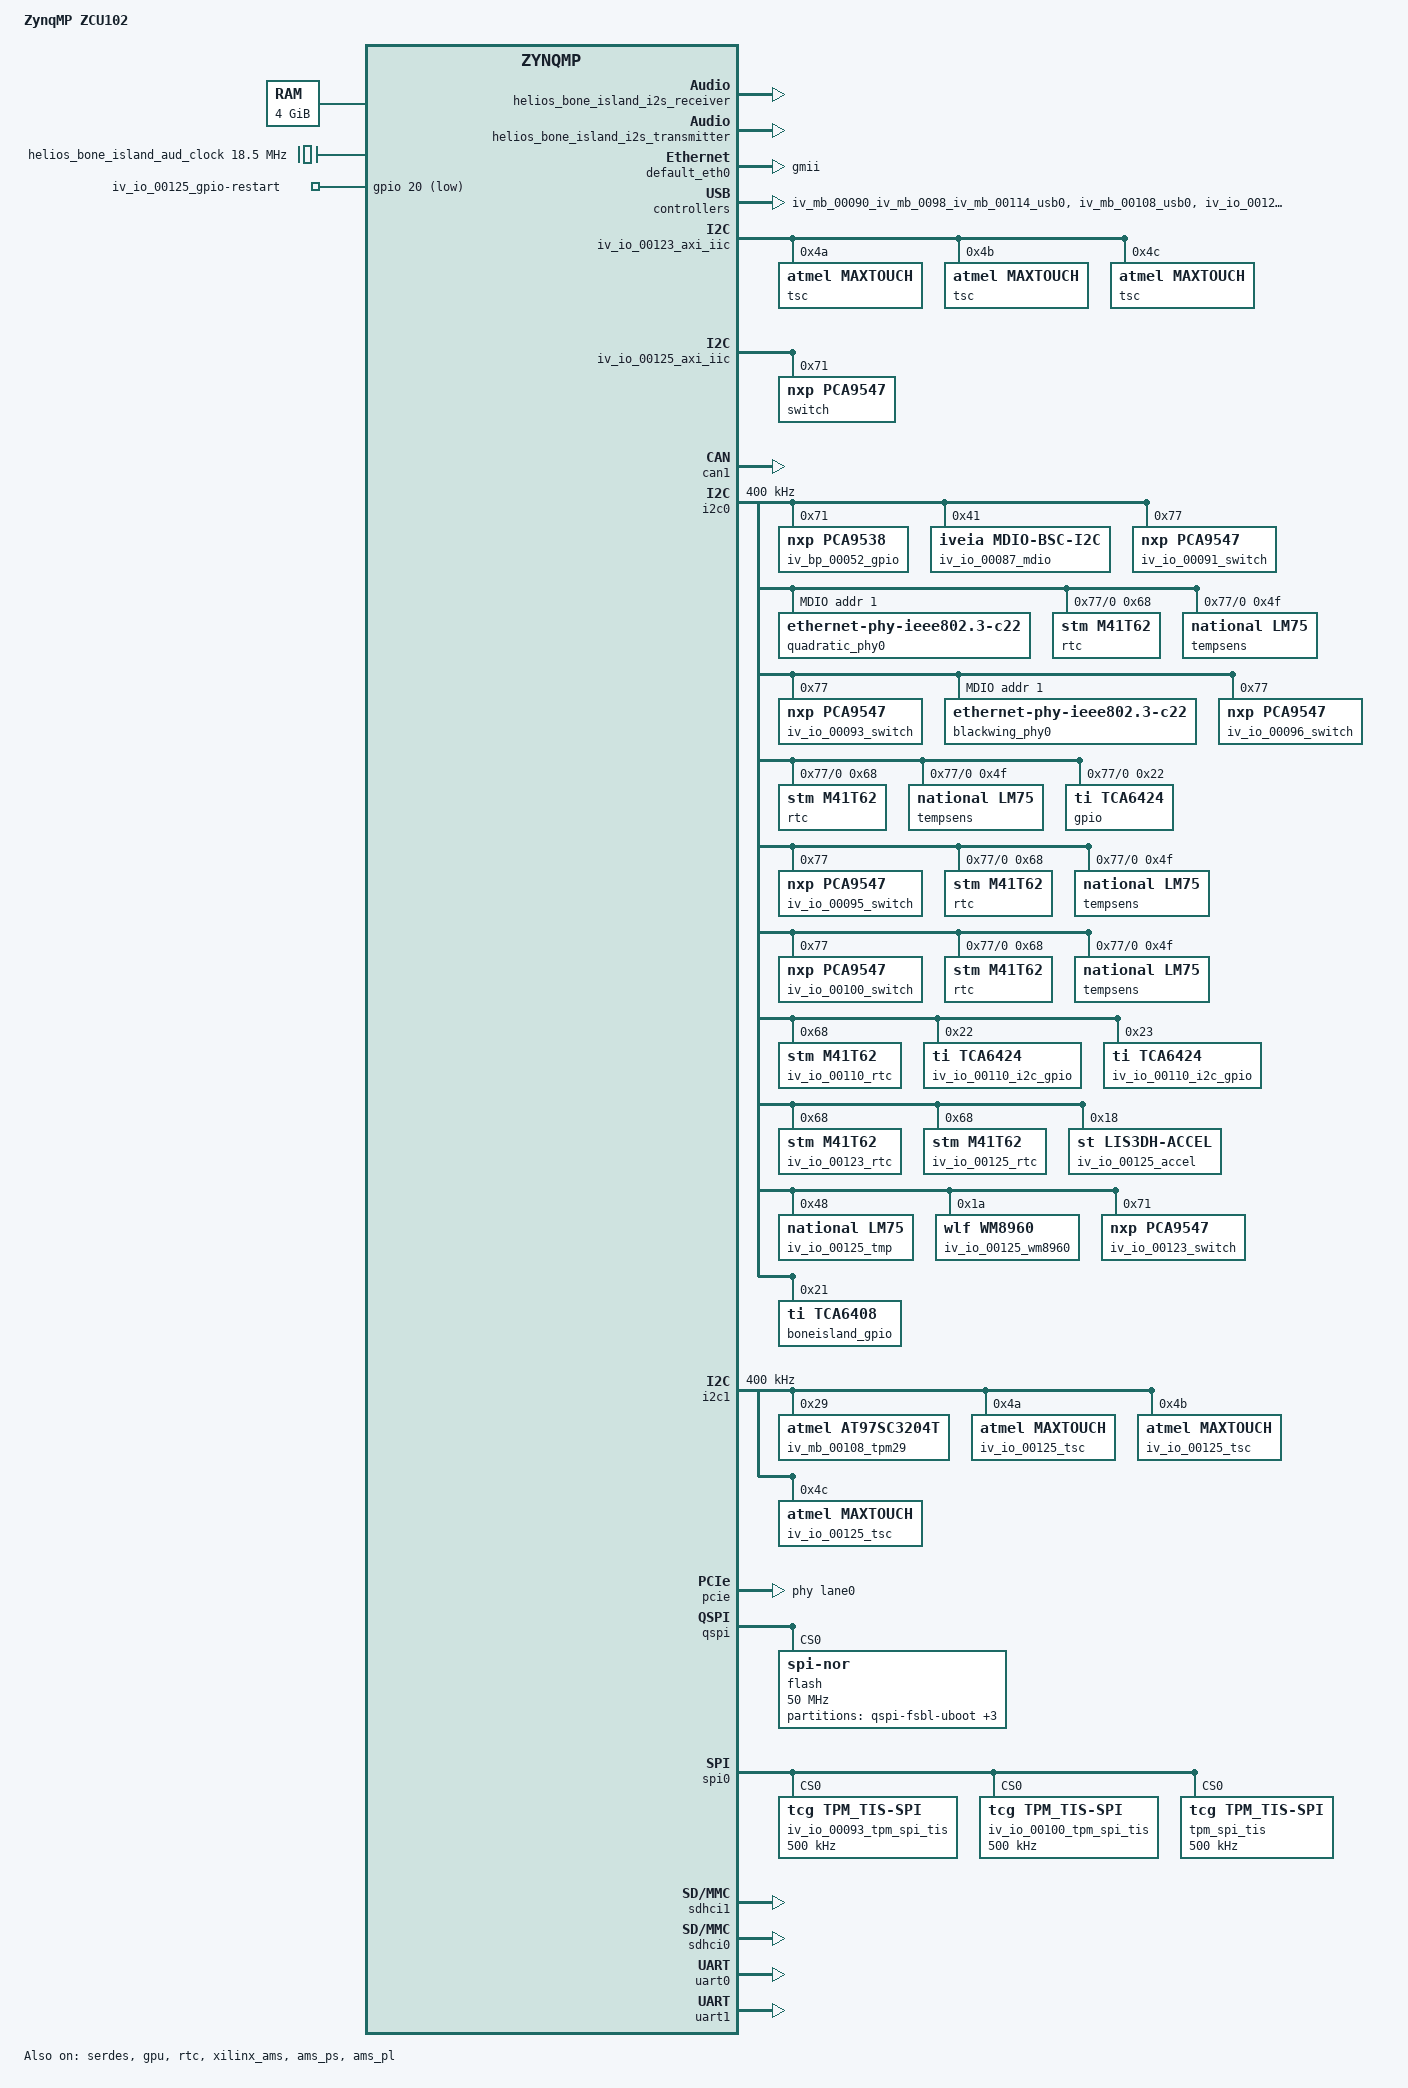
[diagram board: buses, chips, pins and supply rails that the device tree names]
/*
* dts file for iVeia Atlas-II-Z8
 *
 *
 * Patrick Cleary <pcleary@iveia.com>
 *
 * This program is free software; you can redistribute it and/or
 * modify it under the terms of the GNU General Public License as
 * published by the Free Software Foundation; either version 2 of
 * the License, or (at your option) any later version.
 */

/dts-v1/;

#include "zynqmp.dtsi"
#include "zynqmp-clk-ccf.dtsi"
#include <dt-bindings/gpio/gpio.h>
#include <dt-bindings/phy/phy.h>

/ {
	model = "ZynqMP ZCU102";
	compatible = "xlnx,zynqmp-zcu102", "xlnx,zynqmp";
	#address-cells = <2>;
	#size-cells = <1>;


	aliases {
		//ethernet0 = &gem0;
		gpio0 = &gpio;
		i2c0 = &i2c0;
		i2c1 = &i2c1;
		rtc0 = &rtc;
		serial0 = &uart0;
		serial1 = &uart1;
		spi0 = &qspi;
		//usb0 = &usb0;
		//usb1 = &iv_usb1;
	};

	chosen {
//		bootargs = "console=ttyPS1,115200n8 earlycon=cdns,mmio,0xff010000,115200n8 init=/init video=DP-1:1024x768@60 root=/dev/mmcblk0p2 rw rootfstype=ext4 drm.debug=0xf rootwait androidboot.selinux=disabled androidboot.hardware=zcu102 qemu=1";
		bootargs = "console=ttyPS1,115200n8 single root=/dev/mmcblk0p3 rw rootfstype=ext4 rootwait rw earlyprintk loglevel=9";
//		bootargs = "console=ttyPS1,115200n8 rw earlyprintk loglevel=9";
		stdout-path = "serial1:115200n8";
	};

	memory {
		device_type = "memory";
		reg = <0x0 0x0 0x80000000>, <0x8 0x00000000 0x80000000>;
	};


};


&amba {

	helios_bone_island_aud_clock: iv_io_00125_oscillator {
		compatible = "fixed-clock";
		#clock-cells = <1>;
		clock-frequency  = <18500000>;
		clock-output-names = "aud_clock";
	};

	helios_bone_island_i2s_receiver: iv_io_00125_i2s_receiver@80020000 {
		compatible = "xlnx,i2s-receiver-1.0";
		reg = <0x0 0x80020000 0x0 0x10000>;
		xlnx,dwidth = <0x10>;
		xlnx,num-channels = <1>;
		xlnx,snd-pcm = <&helios_bone_island_audio_audio_formatter>;
		audio-codec = <&iv_io_00125_wm8960>;
	};

	helios_bone_island_i2s_transmitter: iv_io_00125_i2s_transmitter@80010000 {
		compatible = "xlnx,i2s-transmitter-1.0";
		reg = <0x0 0x80010000 0x0 0x10000>;
		xlnx,dwidth = <0x10>;
		xlnx,num-channels = <1>;
		xlnx,snd-pcm = <&helios_bone_island_audio_audio_formatter>;
		audio-codec = <&iv_io_00125_wm8960>;
	};

	helios_bone_island_audio_audio_formatter: iv_io_00125_audio_formatter@80000000 {
		compatible = "xlnx,audio-formatter-1.0";
		interrupt-names = "irq_mm2s", "irq_s2mm";
		interrupt-parent = <&gic>;
		interrupts = <0 89 4>, <0 90 4>;
		reg = <0x0 0x80000000 0x0 0x1000>;
		xlnx,tx = <&helios_bone_island_i2s_transmitter>;
		xlnx,rx = <&helios_bone_island_i2s_receiver>;
		clock-names = "s_axi_lite_aclk", "aud_mclk";
		clocks = <&clk 72>, <&helios_bone_island_aud_clock 0>;
	};

		sv_driver_plat@80000000 {
			compatible = "xlnx,sv_driver_plat";
			interrupt-parent = <&gic>;
			interrupts = <0x0 106 0x4>;
			reg = <0x0 0x80000000 0x0 0x1000 0x0 0x80001000 0x0 0x1000 0x0 0x80002000 0x0 0x1000 0x0 0x88000000 0x0 0x4000000 0x0 0x8C000000 0x0 0x4000000>;
		};

//ETH0
	default_eth0: NOT_iv_io_00110_NOT_iv_io_00093_NOT_iv_io_00073_ethernet@ff0b0000 {
			compatible = "cdns,zynqmp-gem";
			status = "okay";
			phy-mode = "gmii";
			interrupt-parent = <&gic>;
			interrupts = <0 57 4>, <0 57 4>;
			reg = <0x0 0xff0b0000 0x0 0x1000>;
			clocks = <&clk 45>, <&clk 45>, <&clk 49>;
			clock-names = "pclk", "tx_clk", "hclk";
			#address-cells = <1>;
			#size-cells = <0>;
			#stream-id-cells = <1>;
			iommus = <&smmu 0x874>;
			power-domains = <&pd_eth0>;
	};


		iv_mb_00090_iv_mb_0098_iv_mb_00114_usb0: iv_mb_00090_iv_mb_0098_iv_mb_00114_usb0 { //All boards except Atlas-III-Z8
		//iv_usb0: iv_usb0 {
			#address-cells = <2>;
			#size-cells = <2>;
			status = "okay";
			compatible = "xlnx,zynqmp-dwc3";
			reg = <0x0 0xff9d0000 0x0 0x100>;
			clock-names = "bus_clk", "ref_clk";
			#stream-id-cells = <1>;
			iommus = <&smmu 0x860>;
			power-domains = <&pd_usb0>;
			ranges;
			nvmem-cells = <&soc_revision>;
			nvmem-cell-names = "soc_revision";
            clocks = <&clk 32>,  <&clk 34>;

			iv_dwc3_0: iv_dwc3@fe200000 {
				compatible = "snps,dwc3";
				status = "okay";
				reg = <0x0 0xfe200000 0x0 0x40000>;
				interrupt-parent = <&gic>;
				interrupts = <0 65 4>, <0 69 4>;
				snps,quirk-frame-length-adjustment = <0x20>;
				snps,refclk_fladj;

	            dr_mode = "host";
	            snps,usb3_lpm_capable;
	            phy-names = "usb3-phy";
	            phys = <&lane0 PHY_TYPE_USB3 0 2 26000000>;

			};
		};

		iv_mb_00108_usb0: iv_mb_00108_usb0 { //Atlas-I-Z8 has different Lane setup
		//iv_usb0: iv_usb0 {
			#address-cells = <2>;
			#size-cells = <2>;
			status = "okay";
			compatible = "xlnx,zynqmp-dwc3";
			reg = <0x0 0xff9d0000 0x0 0x100>;
			clock-names = "bus_clk", "ref_clk";
			#stream-id-cells = <1>;
			iommus = <&smmu 0x860>;
			power-domains = <&pd_usb0>;
			ranges;
			nvmem-cells = <&soc_revision>;
			nvmem-cell-names = "soc_revision";
            clocks = <&clk 32>,  <&clk 34>;

			iv_dwc3_a1_0: iv_dwc3@fe200000 {
				compatible = "snps,dwc3";
				status = "okay";
				reg = <0x0 0xfe200000 0x0 0x40000>;
				interrupt-parent = <&gic>;
				interrupts = <0 65 4>, <0 69 4>;
				snps,quirk-frame-length-adjustment = <0x20>;
				snps,refclk_fladj;

	            dr_mode = "host";
	            snps,usb3_lpm_capable;
	            phy-names = "usb3-phy";
	            phys = <&lane0 PHY_TYPE_USB3 0 0 100000000>;

			};
		};

		iv_io_00125_usb0: iv_io_00125_usb0 {
			#address-cells = <2>;
			#size-cells = <2>;
			status = "okay";
			compatible = "xlnx,zynqmp-dwc3";
			reg = <0x0 0xff9d0000 0x0 0x100>;
			clock-names = "bus_clk", "ref_clk";
			#stream-id-cells = <1>;
			iommus = <&smmu 0x860>;
			power-domains = <&pd_usb0>;
			ranges;
			nvmem-cells = <&soc_revision>;
			nvmem-cell-names = "soc_revision";
            clocks = <&clk 32>,  <&clk 34>;

			boneisland_dwc: dwc3@fe200000 {
				compatible = "snps,dwc3";
				status = "okay";
				reg = <0x0 0xfe200000 0x0 0x40000>;
				interrupt-parent = <&gic>;
				interrupts = <0 65 4>, <0 69 4>;
				snps,quirk-frame-length-adjustment = <0x20>;
				snps,refclk_fladj;

	            dr_mode = "host";
			};
		};


		iv_mb_00090_iv_mb_0098_iv_mb_00108_iv_mb_00114_usb1: iv_mb_00090_iv_mb_0098_iv_mb_00108_iv_mb_00114_usb1 { //All boards except Atlas-III-Z8
			#address-cells = <2>;
			#size-cells = <2>;
			status = "okay";
			compatible = "xlnx,zynqmp-dwc3";
			reg = <0x0 0xff9e0000 0x0 0x100>;
			clock-names = "bus_clk", "ref_clk";
			#stream-id-cells = <1>;
			iommus = <&smmu 0x861>;
			power-domains = <&pd_usb1>;
			ranges;
			nvmem-cells = <&soc_revision>;
			nvmem-cell-names = "soc_revision";
            clocks = <&clk 33>,  <&clk 34>;

			iv_dwc3_1: dwc3@fe300000 {
				compatible = "snps,dwc3";
				status = "okay";
				reg = <0x0 0xfe300000 0x0 0x40000>;
				interrupt-parent = <&gic>;
				interrupts = <0 70 4>, <0 74 4>;
				snps,quirk-frame-length-adjustment = <0x20>;
				snps,refclk_fladj;

                dr_mode = "host";
                maximum-speed = "high-speed";

			};
		};

	iv_io_00123_axi_iic: i2c@80002000 {
		#size-cells = <0>;
		#address-cells = <1>;
		compatible = "xlnx,xps-iic-2.00.a";
        clocks = <&clk 72>;
        clock-names = "pclk";
		interrupt-parent = <&gic>;
		interrupts = < 0 95 4 >;
		reg = < 0x0 0x80002000 0x0 0x1000 >;

        tsc@4a {
		    reg = <0x4a>;
		    compatible = "atmel,maxtouch";
		    interrupt-parent = <&gic>;
		    interrupts = <0 94 4>;
	    };

        tsc@4b {
		    reg = <0x4b>;
		    compatible = "atmel,maxtouch";
		    interrupt-parent = <&gic>;
		    interrupts = <0 94 4>;
	    };
 
        tsc@4c {
		    reg = <0x4c>;
		    compatible = "atmel,maxtouch";
		    interrupt-parent = <&gic>;
		    interrupts = <0 94 4>;
	    };

	};

    iv_io_00125_axi_iic: i2c@80002000 {
		#size-cells = <0>;
		#address-cells = <1>;
		compatible = "xlnx,xps-iic-2.00.a";
        clocks = <&clk 72>;
        clock-names = "pclk";
		interrupt-parent = <&gic>;
		interrupts = < 0 95 4 >;
		reg = < 0x0 0x80002000 0x0 0x1000 >;

    	switch@71 {
            compatible = "nxp,pca9547";
            #address-cells = <1>;
            #size-cells = <0>;
            reg = <0x71>;
		    i2c@0 {
	            #address-cells = <1>;
                #size-cells = <0>;
                reg = <0>;
			
            };
    		i2c@1 {
    	        #address-cells = <1>;
                #size-cells = <0>;
                reg = <0>;
			
            };
    		i2c@2 {
    	        #address-cells = <1>;
                #size-cells = <0>;
                reg = <0>;
    			
            };
    		i2c@3 {
    	        #address-cells = <1>;
                #size-cells = <0>;
                reg = <0>;
    			
            };
    		i2c@4 {
    	        #address-cells = <1>;
                #size-cells = <0>;
                reg = <0>;
    			
            };
    		i2c@5 {
    	        #address-cells = <1>;
               #size-cells = <0>;
                reg = <0>;
			
            };
    		i2c@6 {
    	        #address-cells = <1>;
                #size-cells = <0>;
                reg = <0>;
			
            };
        };

	};

    iv_io_00125_gpio-restart {
	    compatible = "gpio-restart";
	    gpios = <&gpio 20 GPIO_ACTIVE_LOW>;
	    priority = <128>;
	    active-delay = <100>;
	    inactive-delay = <100>;
	    wait-delay = <3000>;
    };
};


&pss_ref_clk {
        clock-frequency = <50000000>;
};

&fclk0 {
	status = "okay";
};

&fclk1 {
	status = "okay";
};

&fclk2 {
	status = "okay";
};

&fclk3 {
	status = "okay";
};

&serdes {
	status = "okay";
};

&can1 {
	status = "okay";
};

&gpio {
	status = "okay";
};

&gpu {
	status = "okay";
};

&i2c0 {
	status = "okay";
	clock-frequency = <400000>;

	iv_bp_00052_gpio: iv_bp_00052_i2c_gpio@71 { //Triumph AEP Module
		compatible = "nxp,pca9538";
		reg = <0x71>;
        gpio-controller;
        #gpio-cells = <2>;

	};

    iv_io_00087_mdio@41 {  //Quadratic Tri-Mode Ethernet PHY
        compatible = "iveia,mdio-bsc-i2c";
        reg = <0x41>;
        #address-cells = <1>;
        #size-cells = <0>;

        sierra_phy0: phy@1 {
            compatible = "ethernet-phy-ieee802.3-c22";
            device_type = "ethernet-phy";
            reg = <1>;
        };
    };

	iv_io_00091_switch@77 {
                compatible = "nxp,pca9547";
                #address-cells = <1>;
                #size-cells = <0>;
                reg = <0x77>;
	
		i2c@0 {
			#address-cells = <1>;
                        #size-cells = <0>;
                        reg = <0>;
	
			mdio@41 {  //Quadratic Tri-Mode Ethernet PHY
        		        compatible = "iveia,mdio-bsc-i2c";
               			 reg = <0x41>;
				#address-cells = <1>;
				#size-cells = <0>;

				quadratic_phy0: phy@1 {
					compatible = "ethernet-phy-ieee802.3-c22";
					device_type = "ethernet-phy";
					reg = <1>;
				};
           	 	};

                        rtc@68 {
                                compatible = "stm,m41t62";
                                reg = <0x68>;
                        };

                        tempsens@4f {
                                compatible = "national,lm75";
                                reg = <0x4f>;
                        };			
                };		
	};

	iv_io_00093_switch@77 {
                compatible = "nxp,pca9547";
                #address-cells = <1>;
                #size-cells = <0>;
                reg = <0x77>;
	
		i2c@0 {
			#address-cells = <1>;
                        #size-cells = <0>;
                        reg = <0>;
	
			mdio@40 {  //Blackwing Tri-Mode Ethernet PHY
        		        compatible = "iveia,mdio-bsc-i2c";
               			 reg = <0x40>;
				#address-cells = <1>;
				#size-cells = <0>;

				blackwing_phy0: phy@1 {
					compatible = "ethernet-phy-ieee802.3-c22";
					device_type = "ethernet-phy";
					reg = <1>;
				};
           	 	};

                };		
	};

    iv_io_00096_switch@77 {
        compatible = "nxp,pca9547";
        #address-cells = <1>;
        #size-cells = <0>;
        reg = <0x77>;
	
        i2c@0 {
            #address-cells = <1>;
            #size-cells = <0>;
            reg = <0>;

            rtc@68 {
                compatible = "stm,m41t62";
                reg = <0x68>;
            };

            tempsens@4f {
                compatible = "national,lm75";
                reg = <0x4f>;
            };

            gpio@22 {
                compatible = "ti,tca6424";
                reg = <0x22>;
                gpio-controller;
                #gpio-cells = <2>;
            };

        };
    };

	iv_io_00095_switch@77 {
                compatible = "nxp,pca9547";
                #address-cells = <1>;
                #size-cells = <0>;
                reg = <0x77>;

		i2c@0 {
			#address-cells = <1>;
                        #size-cells = <0>;
                        reg = <0>;
	
                        rtc@68 {
                                compatible = "stm,m41t62";
                                reg = <0x68>;
                        };

                        tempsens@4f {
                                compatible = "national,lm75";
                                reg = <0x4f>;
                        };			
                };		
	};

	iv_io_00100_switch@77 {
                compatible = "nxp,pca9547";
                #address-cells = <1>;
                #size-cells = <0>;
                reg = <0x77>;
	
		i2c@0 {
			#address-cells = <1>;
                        #size-cells = <0>;
                        reg = <0>;
	
                        rtc@68 {
                                compatible = "stm,m41t62";
                                reg = <0x68>;
                        };

                        tempsens@4f {
                                compatible = "national,lm75";
                                reg = <0x4f>;
                        };			
                };		
	};

    iv_io_00110_rtc@68 {
            compatible = "stm,m41t62";
            reg = <0x68>;
    };

	iv_io_00110_i2c_gpio@22 {
		compatible = "ti,tca6424";
		reg = <0x22>;
	        gpio-controller;
	        #gpio-cells = <2>;
	};
	
	iv_io_00110_i2c_gpio@23 {
		compatible = "ti,tca6424";
		reg = <0x23>;
        	gpio-controller;
        	#gpio-cells = <2>;
	};

    iv_io_00123_rtc@68 {
            compatible = "stm,m41t62";
            reg = <0x68>;
    };

    iv_io_00125_rtc@68 {
            compatible = "stm,m41t62";
            reg = <0x68>;
    };
    
    iv_io_00125_accel@18 {
            compatible = "st,lis3dh-accel";
            reg = <0x18>;
    };

    iv_io_00125_tmp@48 {
		compatible = "national,lm75";
		reg = <0x48>;	
	};

	iv_io_00125_wm8960: iv_io_00125_wm8960@1a {//Atlas-I-Z8 on Bone-Island Carrier
		compatible = "wlf,wm8960";
		//#address-cells = <1>;
		//#size-cells = <0>;
		reg = <0x1a>;
	};

	iv_io_00123_switch@71 {
                compatible = "nxp,pca9547";
                #address-cells = <1>;
                #size-cells = <0>;
                reg = <0x71>;
		i2c@0 {
	        #address-cells = <1>;
            #size-cells = <0>;
            reg = <0>;
			
        };
		i2c@1 {
	        #address-cells = <1>;
            #size-cells = <0>;
            reg = <0>;
			
        };
		i2c@2 {
	        #address-cells = <1>;
            #size-cells = <0>;
            reg = <0>;
			
        };
		i2c@3 {
	        #address-cells = <1>;
            #size-cells = <0>;
            reg = <0>;
			
        };
		i2c@4 {
	        #address-cells = <1>;
            #size-cells = <0>;
            reg = <0>;
			
        };
		i2c@5 {
	        #address-cells = <1>;
            #size-cells = <0>;
            reg = <0>;
			
        };
		i2c@6 {
	        #address-cells = <1>;
            #size-cells = <0>;
            reg = <0>;
			
        };
    };

	boneisland_gpio: iv_io_00123_i2c_gpio@21 {
		compatible = "ti,tca6408";
		reg = <0x21>;
	        gpio-controller;
	        #gpio-cells = <2>;
	};


};

&i2c1 {
	status = "okay";
	clock-frequency = <400000>;

	iv_mb_00108_tpm29@29{
		compatible = "atmel,at97sc3204t";
 		reg = <0x29>;
 	};

    iv_io_00125_tsc@4a {
	    reg = <0x4a>;
	    compatible = "atmel,maxtouch";
	    interrupt-parent = <&gic>;
	    interrupts = <0 94 4>;
    };

    iv_io_00125_tsc@4b {
	    reg = <0x4b>;
	    compatible = "atmel,maxtouch";
	    interrupt-parent = <&gic>;
	    interrupts = <0 94 4>;
    };
 
    iv_io_00125_tsc@4c {
	    reg = <0x4c>;
	    compatible = "atmel,maxtouch";
	    interrupt-parent = <&gic>;
	    interrupts = <0 94 4>;
    };

};

&pcie {
	status = "okay";
	phys = <&lane0 PHY_TYPE_PCIE 0 0 100000000>;
};

&qspi {
    status = "okay";
    is-dual = <0>;
    flash@0 {
        compatible = "jedec,spi-nor";
        #address-cells = <1>;
        #size-cells = <1>;
        reg = <0x0>;
        spi-max-frequency = <50000000>;
        partition@qspi-fsbl-uboot {
            label = "qspi-fsbl-uboot";
            reg = <0x0 0x0fd000>;
        };
        partition@qspi-user-info{
            label = "qspi-user-info";
            reg = <0x0fd000 0x1000>;
        };
        partition@qspi-io-board-info{
            label = "qspi-io-board-info";
            reg = <0x0fe000 0x1000>;
        };
        partition@qspi-mb-board-info{
            label = "qspi-mb-board-info";
            reg = <0x0ff000 0x1000>;
        }; 

    };
};

&spi0 {
	status = "okay";

	iv_io_00093_tpm_spi_tis@0{
		compatible = "tcg,tpm_tis-spi";
 		reg = <0>;	/* CE0 */
 		spi-max-frequency = <500000>;
 	};

	iv_io_00100_tpm_spi_tis@0{
		compatible = "tcg,tpm_tis-spi";
 		reg = <0>;	/* CE0 */
 		spi-max-frequency = <500000>;
 	};

	tpm_spi_tis@0{
		compatible = "tcg,tpm_tis-spi";
 		reg = <0>;	/* CE0 */
 		spi-max-frequency = <500000>;
 	};
};

&rtc {
	status = "okay";
};

/* SD1 with level shifter */
&sdhci1 {
	status = "okay";
	no-1-8-v;
	xlnx,mio_bank = <1>;

//    bus-width = <0x4>;
//    vmmc-supply = <&lwb_reg>;

    max-frequency = <40000000>;

    disable-wp;
	non-removeable;
//	cap-power-off-card;
};

&sdhci0 {
	status = "okay";
	no-1-8-v;
	xlnx,mio_bank = <0>;

    max-frequency = <40000000>;

    disable-wp;
	non-removeable;
};

&uart0 {
	status = "okay";
};

&uart1 {
	status = "okay";
};

&xilinx_ams {
	status = "okay";
};

&ams_ps {
	status = "okay";
};

&ams_pl {
	status = "okay";
};
